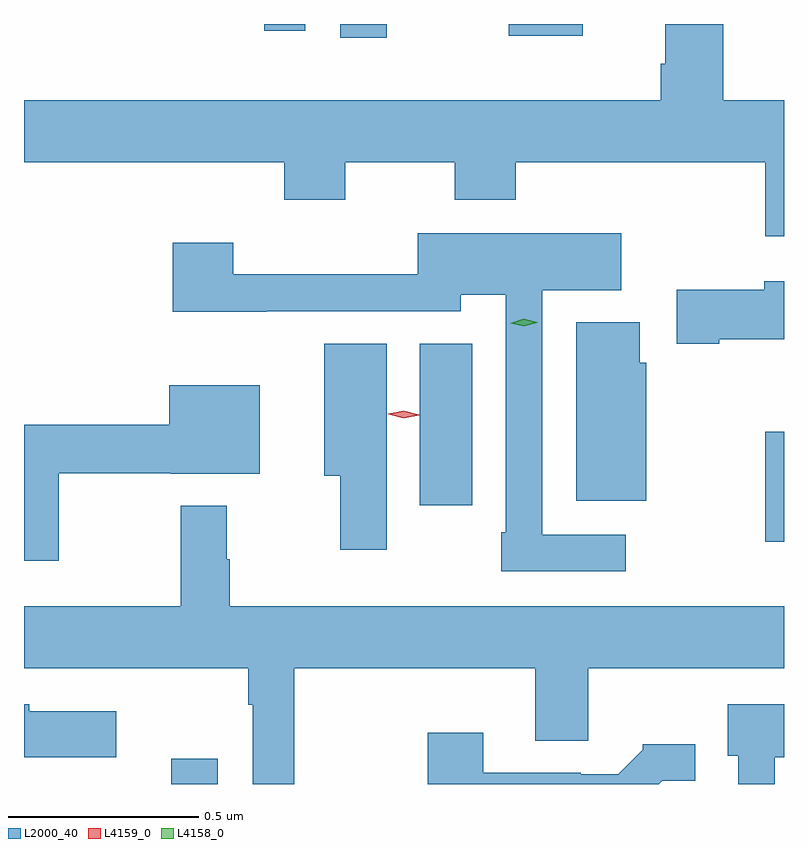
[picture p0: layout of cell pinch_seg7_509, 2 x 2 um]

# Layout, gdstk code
import gdstk
lib = gdstk.Library(unit=1e-6, precision=1e-09)
def R(c, l, rs):  # rectangles x0, y0, x1, y1
    for r in rs: c.add(gdstk.rectangle(r[:2], r[2:], *l))
def P(c, l, *ps):  # polygons
    for p in ps: c.add(gdstk.Polygon(p, *l))
L2000_40 = (2000, 40)
L4158_0 = (4158, 0)
L4159_0 = (4159, 0)

pinch_seg7_509 = lib.new_cell('pinch_seg7_509')
R(pinch_seg7_509, L2000_40, [(222.416,1076.236,222.538,1076.302), (223.978,1076.874,224.028,1077.163), (223.07,1076.97,223.207,1077.395), (222.86,1078.2,222.982,1078.236), (223.304,1078.205,223.498,1078.236), (222.66,1078.218,222.768,1078.236)])
P(pinch_seg7_509, L2000_40, [(224.028,1078.036),(223.868,1078.036),(223.868,1078.236),(223.715,1078.236),(223.715,1078.132),(223.703,1078.132),(223.703,1078.036),(222.028,1078.036),(222.028,1077.872),(222.713,1077.872),(222.713,1077.773),(222.873,1077.773),(222.873,1077.872),(223.162,1077.872),(223.162,1077.773),(223.322,1077.773),(223.322,1077.872),(223.978,1077.872),(223.978,1077.678),(224.028,1077.678)],
  [(223.612,1076.892),(223.392,1076.892),(223.392,1077.536),(223.6,1077.536),(223.6,1077.685),(223.064,1077.685),(223.064,1077.578),(222.579,1077.578),(222.579,1077.661),(222.419,1077.661),(222.419,1077.479),(222.667,1077.479),(222.667,1077.48),(223.177,1077.48),(223.177,1077.524),(223.296,1077.524),(223.296,1076.899),(223.284,1076.899),(223.284,1076.796),(223.612,1076.796)],
  [(223.858,1077.407),(224.028,1077.407),(224.028,1077.559),(223.976,1077.559),(223.976,1077.537),(223.746,1077.537),(223.746,1077.395),(223.858,1077.395)],
  [(223.666,1077.345),(223.648,1077.345),(223.648,1077.451),(223.481,1077.451),(223.481,1076.981),(223.666,1076.981)],
  [(222.982,1077.395),(222.818,1077.395),(222.818,1077.047),(222.86,1077.047),(222.86,1076.853),(222.982,1076.853)],
  [(222.12,1077.054),(222.414,1077.054),(222.414,1077.053),(222.649,1077.053),(222.649,1077.286),(222.41,1077.286),(222.41,1077.182),(222.028,1077.182),(222.028,1076.823),(222.12,1076.823)],
  [(222.569,1076.828),(222.562,1076.828),(222.562,1076.968),(222.441,1076.968),(222.441,1076.704),(222.028,1076.704),(222.028,1076.54),(222.618,1076.54),(222.618,1076.444),(222.63,1076.444),(222.63,1076.236),(222.739,1076.236),(222.739,1076.54),(223.373,1076.54),(223.373,1076.35),(223.513,1076.35),(223.513,1076.54),(224.028,1076.54),(224.028,1076.704),(222.569,1076.704)],
  [(224.004,1076.306),(224.028,1076.306),(224.028,1076.446),(223.88,1076.446),(223.88,1076.31),(223.908,1076.31),(223.908,1076.236),(224.004,1076.236)],
  [(222.271,1076.428),(222.042,1076.428),(222.042,1076.446),(222.028,1076.446),(222.028,1076.306),(222.271,1076.306)],
  [(223.707,1076.244),(223.795,1076.244),(223.795,1076.341),(223.656,1076.341),(223.656,1076.326),(223.592,1076.262),(223.493,1076.262),(223.493,1076.265),(223.237,1076.265),(223.237,1076.371),(223.09,1076.371),(223.09,1076.236),(223.699,1076.236)])
P(pinch_seg7_509, L4158_0, [(223.343,1077.44),(223.308,1077.449),(223.308,1077.449),(223.308,1077.449),(223.343,1077.46),(223.378,1077.451),(223.378,1077.45),(223.378,1077.45)])
P(pinch_seg7_509, L4159_0, [(223.027,1077.198),(222.986,1077.209),(222.986,1077.209),(222.986,1077.21),(223.027,1077.218),(223.068,1077.208),(223.068,1077.208),(223.068,1077.207)])

lib.write_gds('pinch_seg7_509.gds')
